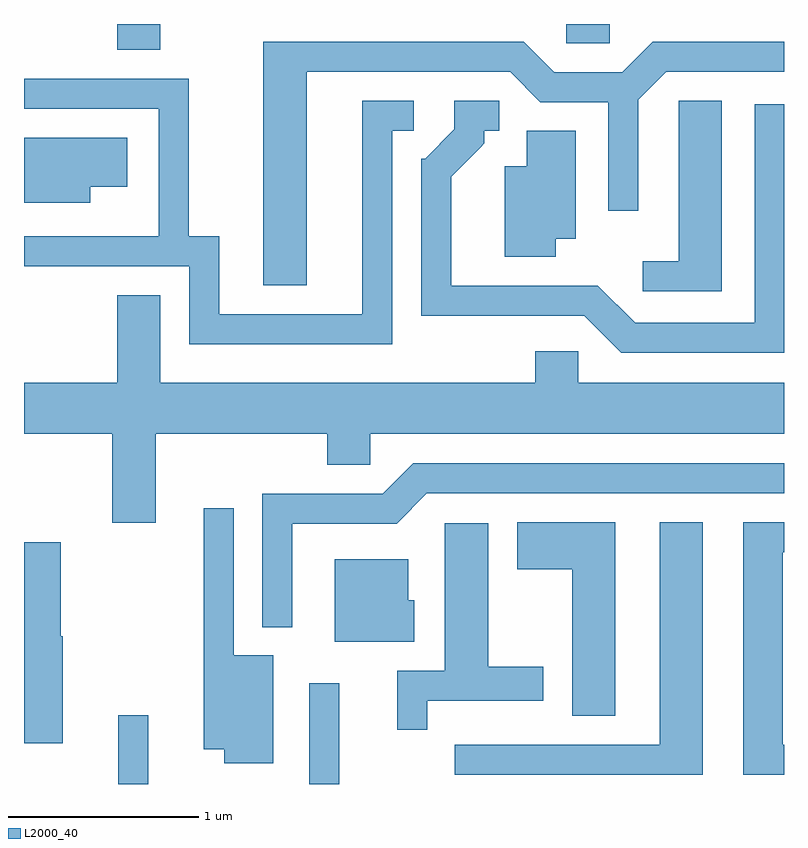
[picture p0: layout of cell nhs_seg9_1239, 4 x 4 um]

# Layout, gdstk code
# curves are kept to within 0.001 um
import gdstk
lib = gdstk.Library(unit=1e-6, precision=1e-09)
def R(c, l, rs):  # rectangles x0, y0, x1, y1
    for r in rs: c.add(gdstk.rectangle(r[:2], r[2:], *l))
def P(c, l, *ps):  # polygons
    for p in ps: c.add(gdstk.Polygon(p, *l))
L2000_40 = (2000, 40)

nhs_seg9_1239 = lib.new_cell('nhs_seg9_1239')
R(nhs_seg9_1239, L2000_40, [(222.106,1974.432,222.264,1974.793), (223.111,1974.432,223.269,1974.963), (222.101,1978.296,222.329,1978.432), (224.466,1978.331,224.694,1978.432)])
P(nhs_seg9_1239, L2000_40, [(223.099,1978.181),(224.169,1978.181),(224.329,1978.021),(224.686,1978.021),(224.686,1977.448),(224.844,1977.448),(224.844,1978.034),(224.992,1978.181),(225.611,1978.181),(225.611,1978.339),(224.919,1978.339),(224.759,1978.179),(224.402,1978.179),(224.242,1978.339),(222.871,1978.339),(222.871,1977.056),(223.099,1977.056)],
  [(223.549,1977.871),(223.663,1977.871),(223.663,1978.029),(223.391,1978.029),(223.391,1976.904),(222.639,1976.904),(222.639,1977.314),(222.479,1977.314),(222.479,1978.144),(221.611,1978.144),(221.611,1977.986),(222.321,1977.986),(222.321,1977.314),(221.611,1977.314),(221.611,1977.156),(222.481,1977.156),(222.481,1976.746),(223.549,1976.746)],
  [(225.611,1978.009),(225.456,1978.009),(225.456,1976.859),(224.827,1976.859),(224.632,1977.054),(223.859,1977.054),(223.859,1977.629),(224.034,1977.804),(224.034,1977.871),(224.113,1977.871),(224.113,1978.029),(223.876,1978.029),(223.876,1977.877),(223.724,1977.724),(223.701,1977.724),(223.701,1976.896),(224.559,1976.896),(224.754,1976.701),(225.611,1976.701)],
  [(225.284,1978.029),(225.056,1978.029),(225.056,1977.184),(224.868,1977.184),(224.868,1977.026),(225.284,1977.026)],
  [(224.409,1977.301),(224.514,1977.301),(224.514,1977.869),(224.256,1977.869),(224.256,1977.684),(224.141,1977.684),(224.141,1977.206),(224.409,1977.206)],
  [(221.959,1977.576),(222.154,1977.576),(222.154,1977.834),(221.611,1977.834),(221.611,1977.491),(221.959,1977.491)],
  [(222.304,1976.276),(223.206,1976.276),(223.206,1976.111),(223.434,1976.111),(223.434,1976.276),(225.611,1976.276),(225.611,1976.544),(224.529,1976.544),(224.529,1976.709),(224.301,1976.709),(224.301,1976.544),(222.329,1976.544),(222.329,1977.004),(222.101,1977.004),(222.101,1976.544),(221.611,1976.544),(221.611,1976.276),(222.076,1976.276),(222.076,1975.806),(222.304,1975.806)],
  [(223.024,1975.801),(223.572,1975.801),(223.732,1975.961),(225.611,1975.961),(225.611,1976.119),(223.659,1976.119),(223.499,1975.959),(222.866,1975.959),(222.866,1975.258),(223.024,1975.258)],
  [(222.924,1975.109),(222.714,1975.109),(222.714,1975.883),(222.556,1975.883),(222.556,1974.616),(222.666,1974.616),(222.666,1974.541),(222.924,1974.541)],
  [(225.611,1974.639),(225.604,1974.639),(225.604,1975.651),(225.611,1975.651),(225.611,1975.809),(225.396,1975.809),(225.396,1974.481),(225.611,1974.481)],
  [(224.724,1975.809),(224.206,1975.809),(224.206,1975.561),(224.496,1975.561),(224.496,1974.791),(224.724,1974.791)],
  [(225.184,1975.809),(224.956,1975.809),(224.956,1974.639),(223.878,1974.639),(223.878,1974.481),(225.184,1974.481)],
  [(223.734,1974.871),(224.344,1974.871),(224.344,1975.049),(224.054,1975.049),(224.054,1975.804),(223.826,1975.804),(223.826,1975.029),(223.576,1975.029),(223.576,1974.718),(223.734,1974.718)],
  [(221.814,1975.21),(221.804,1975.21),(221.804,1975.704),(221.611,1975.704),(221.611,1974.646),(221.814,1974.646)],
  [(223.664,1975.399),(223.634,1975.399),(223.634,1975.614),(223.246,1975.614),(223.246,1975.181),(223.664,1975.181)])

lib.write_gds('nhs_seg9_1239.gds')
